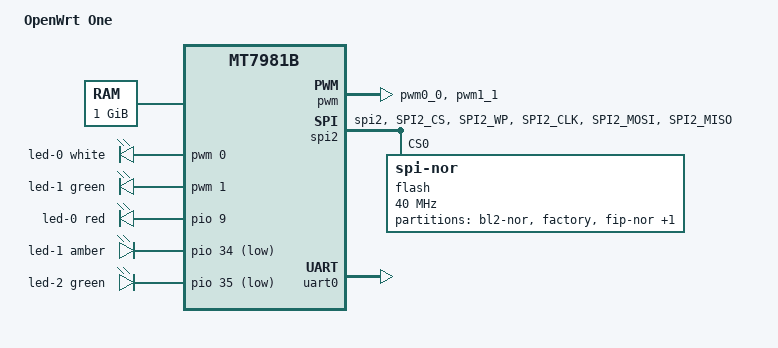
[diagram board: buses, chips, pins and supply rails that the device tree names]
// SPDX-License-Identifier: GPL-2.0-only OR MIT

/dts-v1/;

#include "mt7981b.dtsi"
#include <dt-bindings/gpio/gpio.h>
#include <dt-bindings/leds/common.h>
#include "dt-bindings/pinctrl/mt65xx.h"

/ {
	compatible = "openwrt,one", "mediatek,mt7981b";
	model = "OpenWrt One";

	aliases {
		serial0 = &uart0;
	};

	chosen {
		stdout-path = "serial0:115200n8";
	};

	memory@40000000 {
		reg = <0 0x40000000 0 0x40000000>;
		device_type = "memory";
	};

	pwm-leds {
		compatible = "pwm-leds";

		led-0 {
			color = <LED_COLOR_ID_WHITE>;
			default-brightness = <0>;
			function = LED_FUNCTION_STATUS;
			max-brightness = <255>;
			pwms = <&pwm 0 10000>;
		};

		led-1 {
			color = <LED_COLOR_ID_GREEN>;
			default-brightness = <0>;
			function = LED_FUNCTION_STATUS;
			max-brightness = <255>;
			pwms = <&pwm 1 10000>;
		};
	};

	gpio-leds {
		compatible = "gpio-leds";

		led-0 {
			color = <LED_COLOR_ID_RED>;
			function = LED_FUNCTION_STATUS;
			gpios = <&pio 9 GPIO_ACTIVE_HIGH>;
		};

		led-1 {
			color = <LED_COLOR_ID_AMBER>;
			function = LED_FUNCTION_LAN;
			gpios = <&pio 34 GPIO_ACTIVE_LOW>;
			linux,default-trigger = "netdev";
		};

		led-2 {
			color = <LED_COLOR_ID_GREEN>;
			function = LED_FUNCTION_LAN;
			gpios = <&pio 35 GPIO_ACTIVE_LOW>;
			linux,default-trigger = "netdev";
		};
	};
};

&pio {
	pwm_pins: pwm-pins {
		mux {
			function = "pwm";
			groups = "pwm0_0", "pwm1_1";
		};
	};

	spi2_flash_pins: spi2-pins {
		mux {
			function = "spi";
			groups = "spi2";
		};

		conf-pu {
			bias-pull-up = <MTK_PUPD_SET_R1R0_11>;
			drive-strength = <8>;
			pins = "SPI2_CS", "SPI2_WP";
		};

		conf-pd {
			bias-pull-down = <MTK_PUPD_SET_R1R0_11>;
			drive-strength = <8>;
			pins = "SPI2_CLK", "SPI2_MOSI", "SPI2_MISO";
		};
	};
};

&pwm {
	pinctrl-names = "default";
	pinctrl-0 = <&pwm_pins>;
	status = "okay";
};

&spi2 {
	pinctrl-names = "default";
	pinctrl-0 = <&spi2_flash_pins>;
	status = "okay";

	flash@0 {
		compatible = "jedec,spi-nor";
		reg = <0>;
		spi-max-frequency = <40000000>;
		#address-cells = <1>;
		#size-cells = <1>;

		partitions {
			compatible = "fixed-partitions";
			#address-cells = <1>;
			#size-cells = <1>;

			partition@0 {
				reg = <0x00000 0x40000>;
				label = "bl2-nor";
			};

			partition@40000 {
				reg = <0x40000 0xc0000>;
				label = "factory";
				read-only;

				nvmem-layout {
					compatible = "fixed-layout";
					#address-cells = <1>;
					#size-cells = <1>;

					wifi_factory_calibration: eeprom@0 {
						reg = <0x0 0x1000>;
					};

					wan_factory_mac: macaddr@24 {
						reg = <0x24 0x6>;
						compatible = "mac-base";
						#nvmem-cell-cells = <1>;
					};
				};
			};

			partition@100000 {
				reg = <0x100000 0x80000>;
				label = "fip-nor";
			};

			partition@180000 {
				reg = <0x180000 0xc80000>;
				label = "recovery";
			};
		};
	};
};

&uart0 {
	status = "okay";
};
